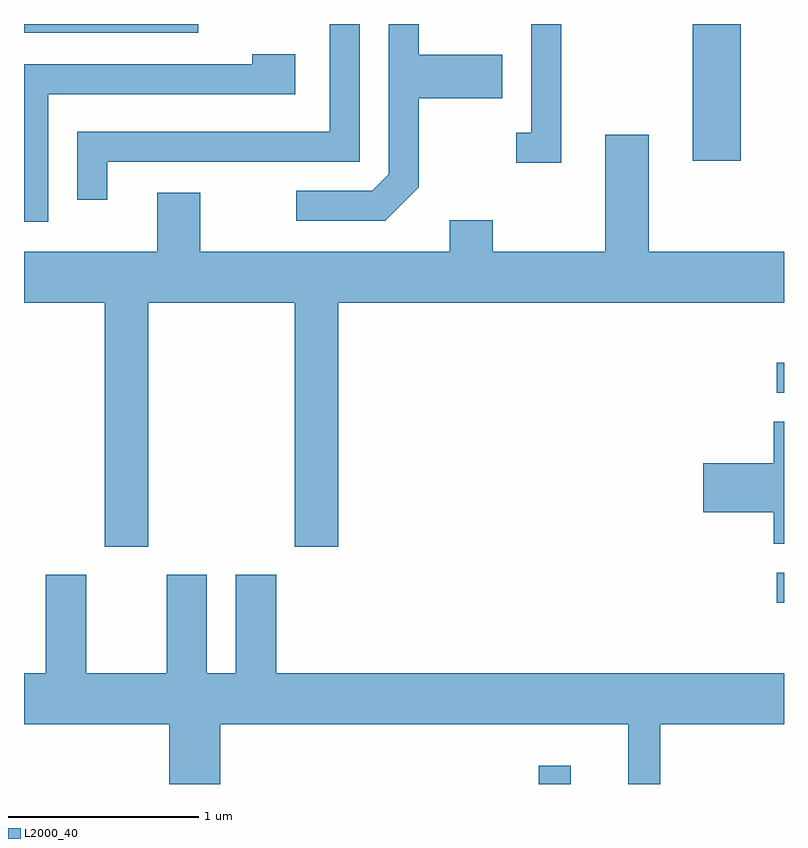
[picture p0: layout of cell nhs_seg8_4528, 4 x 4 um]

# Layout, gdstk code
import gdstk
lib = gdstk.Library(unit=1e-6, precision=1e-09)
def R(c, l, rs):  # rectangles x0, y0, x1, y1
    for r in rs: c.add(gdstk.rectangle(r[:2], r[2:], *l))
def P(c, l, *ps):  # polygons
    for p in ps: c.add(gdstk.Polygon(p, *l))
L2000_40 = (2000, 40)

nhs_seg8_4528 = lib.new_cell('nhs_seg8_4528')
R(nhs_seg8_4528, L2000_40, [(324.321,1818.342,324.489,1818.438), (325.573,1819.296,325.611,1819.454), (325.573,1820.401,325.611,1820.559), (325.131,1821.621,325.384,1822.342), (321.611,1822.296,322.528,1822.342)])
P(nhs_seg8_4528, L2000_40, [(324.439,1822.342),(324.281,1822.342),(324.281,1821.769),(324.203,1821.769),(324.203,1821.611),(324.439,1821.611)],
  [(323.689,1821.484),(323.689,1821.951),(324.129,1821.951),(324.129,1822.179),(323.689,1822.179),(323.689,1822.342),(323.531,1822.342),(323.531,1821.552),(323.444,1821.464),(323.043,1821.464),(323.043,1821.306),(323.512,1821.306)],
  [(322.049,1821.616),(323.379,1821.616),(323.379,1822.342),(323.221,1822.342),(323.221,1821.774),(321.891,1821.774),(321.891,1821.418),(322.049,1821.418)],
  [(321.739,1821.971),(323.039,1821.971),(323.039,1822.184),(322.811,1822.184),(322.811,1822.129),(321.611,1822.129),(321.611,1821.301),(321.739,1821.301)],
  [(322.264,1820.876),(323.036,1820.876),(323.036,1819.591),(323.264,1819.591),(323.264,1820.876),(325.611,1820.876),(325.611,1821.144),(324.899,1821.144),(324.899,1821.759),(324.671,1821.759),(324.671,1821.144),(324.079,1821.144),(324.079,1821.309),(323.851,1821.309),(323.851,1821.144),(322.539,1821.144),(322.539,1821.454),(322.311,1821.454),(322.311,1821.144),(321.611,1821.144),(321.611,1820.876),(322.036,1820.876),(322.036,1819.591),(322.264,1819.591)],
  [(325.611,1820.249),(325.556,1820.249),(325.556,1820.029),(325.186,1820.029),(325.186,1819.771),(325.556,1819.771),(325.556,1819.606),(325.611,1819.606)],
  [(322.644,1818.656),(324.791,1818.656),(324.791,1818.342),(324.959,1818.342),(324.959,1818.656),(325.611,1818.656),(325.611,1818.924),(322.939,1818.924),(322.939,1819.444),(322.726,1819.444),(322.726,1818.924),(322.574,1818.924),(322.574,1819.444),(322.361,1819.444),(322.361,1818.924),(321.939,1818.924),(321.939,1819.444),(321.726,1819.444),(321.726,1818.924),(321.611,1818.924),(321.611,1818.656),(322.376,1818.656),(322.376,1818.342),(322.644,1818.342)])

lib.write_gds('nhs_seg8_4528.gds')
